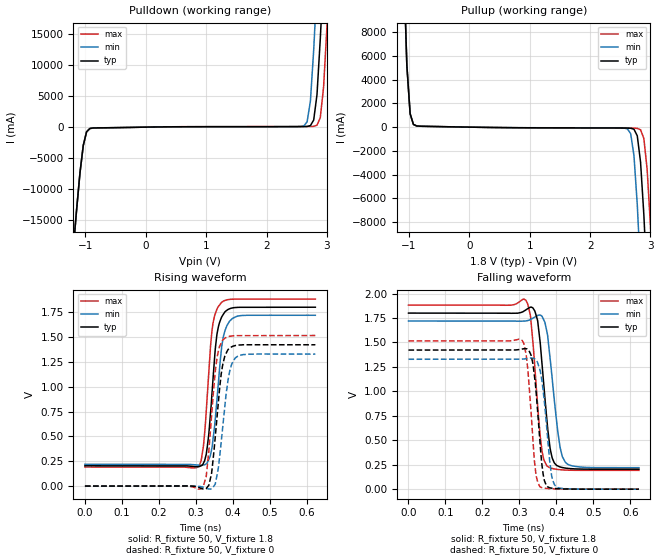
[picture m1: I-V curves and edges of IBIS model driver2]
| IBIS file inv_chain_fast_5ps_tr100ps.ibs created by PYS2IBIS3
| Missouri S&T EMC Lab
[IBIS Ver] 7.1
[File Name] inv_chain_fast_5ps_tr100ps.ibs
[File Rev] 1.0
[Date] Jul 27, 2026
[Source] Eight-stage inv_chain transistor model characterized with s2ibispy
[Notes] Parameter selection; sim_time=6.231e-10, tr=tf=1.000e-10.
[Component] invchain
[Manufacturer] s2ibispy study
[Package]
| variable   typ   min   max
R_pkg 0 NA NA
L_pkg 0H NA NA
C_pkg 0F NA NA
[Pin]  signal_name   model_name   R_pin   L_pin   C_pin
VSSQ   VSSQ   Gnd
VCCQ   VCCQ   Power
| IN IN dummy
PAD   PAD   driver2
| End of Component
| Models and submodels in the file (1): driver2 (Output)
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[Model] driver2
Model_type Output
Polarity Non-Inverting
Enable Active-High
Vinl  = 0.8V
Vinh  = 2V
C_comp 0.4680pF NA NA
[Temperature Range] 27.0000 27.0000 27.0000
[Voltage Range] 1.8000V 1.7000V 1.9000V
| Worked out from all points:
|   slope of the pulldown table from 0 to 0.27 V, typ, clamps not added: 6.79 ohm
|   slope of the pullup table from 0 to 0.27 V, typ, clamps not added: 12.6 ohm
|   rising waveform, R_fixture 50, V_fixture 1.8: 20-80 % time 20.5ps typ, 22.1ps min, 19.3ps max; typ from 0.204 V to 1.8 V
|   rising waveform, R_fixture 50, V_fixture 0: 20-80 % time 21.7ps typ, 23.4ps min, 20.5ps max; typ from 0 V to 1.42 V
|   falling waveform, R_fixture 50, V_fixture 1.8: 20-80 % time 22.9ps typ, 25.5ps min, 20.9ps max; typ from 1.8 V to 0.204 V
|   falling waveform, R_fixture 50, V_fixture 0: 20-80 % time 18.4ps typ, 20.3ps min, 17.2ps max; typ from 1.42 V to 0 V
[Pulldown]
| Voltage   I(typ)   I(min)   I(max)
-1.8V     -87.88A    -87.88A    -87.88A
-1.2V     -19.4A     -19.4A     -19.4A
-1.036V   -2.952A    -2.948A    -2.955A
-927.3mV  -221.8mA   -216.4mA   -227mA
2.618V    95.77mA    193.1mA    97.15mA
2.727V    244.8mA    4.224A     106.4mA
2.782V    1.151A     12.49A     132.5mA
2.836V    5.27A      23.04A     313.7mA
2.891V    14.25A     33.59A     1.533A
2.946V    24.81A     44.15A     6.464A
3V        35.36A     54.71A     16.02A
3.6V      151.5A     170.8A     132.1A
[Pullup]
| Voltage   I(typ)   I(min)   I(max)
-1.8V     151.4A     151.4A     151.4A
-1.091V   14.2A      14.19A     14.2A
-981.8mV  1.13A      1.129A     1.132A
-872.7mV  99.18mA    97.54mA    100.6mA
2.618V    -78.19mA   -142.5mA   -79.21mA
2.727V    -177.2mA   -2.408A    -86.52mA
2.782V    -728.3mA   -6.523A    -104.6mA
2.836V    -2.952A    -12.18A    -222.3mA
2.891V    -7.391A    -18.4A     -950.7mA
2.946V    -13.22A    -24.62A    -3.561A
3V        -19.44A    -30.85A    -8.297A
3.6V      -87.92A    -99.33A    -76.52A
[Ramp]
| variable   typ   min   max
dV/dt_r 0.8532/0.02164n 0.7968/0.02333n 0.9090/0.02053n
dV/dt_f 0.9575/0.02292n 0.8972/0.02469n 1.0171/0.02135n
R_load = 50
[Rising Waveform]
R_fixture = 50
V_fixture = 1.8
|time   V(typ)   V(min)   V(max)
0s        204.2mV    219.5mV    192.2mV
304.4ps   195.4mV    211.6mV    189.7mV
320ps     227.1mV    211.7mV    390.3mV
328.7ps   336mV      226.5mV    786.7mV
342.4ps   869.8mV    364mV      1.531V
352.4ps   1.377V     670.6mV    1.736V
359.9ps   1.586V     992.8mV    1.802V
374.2ps   1.728V     1.502V     1.86V
397.3ps   1.792V     1.683V     1.88V
623.1ps   1.8V       1.719V     1.882V
[Rising Waveform]
R_fixture = 50
V_fixture = 0
|time   V(typ)   V(min)   V(max)
0s        13.08nV    12.76nV    13.48nV
315ps     -24.19mV   -6.634mV   -25.11mV
328.1ps   -23.83mV   -21.84mV   99.55mV
342.4ps   126.6mV    -26.92mV   706.7mV
350.5ps   416.4mV    7.459mV    1.075V
357.4ps   710.7mV    109.4mV    1.296V
371.8ps   1.206V     566.9mV    1.466V
389.8ps   1.385V     1.13V      1.506V
406.7ps   1.415V     1.289V     1.514V
623.1ps   1.422V     1.328V     1.515V
[Falling Waveform]
R_fixture = 50
V_fixture = 1.8
|time   V(typ)   V(min)   V(max)
0s        1.8V       1.719V     1.882V
317.5ps   1.833V     1.72V      1.931V
330ps     1.861V     1.734V     1.767V
348.7ps   1.73V      1.776V     885.3mV
356.8ps   1.471V     1.78V      522.8mV
369.3ps   917mV      1.699V     274mV
383.6ps   404.6mV    1.323V     217.1mV
405.4ps   232.9mV    543.2mV    200.4mV
422.9ps   216.1mV    280.1mV    195.3mV
623.1ps   204.2mV    219.5mV    192.2mV
[Falling Waveform]
R_fixture = 50
V_fixture = 0
|time   V(typ)   V(min)   V(max)
0s        1.422V     1.328V     1.515V
307.5ps   1.433V     1.33V      1.52V
322.5ps   1.428V     1.336V     1.237V
336.2ps   1.287V     1.341V     520.2mV
344.9ps   1.002V     1.32V      143.2mV
354.9ps   517mV      1.226V     27.58mV
367.4ps   88.64mV    898.6mV    9.63mV
381.7ps   13.96mV    291mV      4.936mV
395.5ps   6.424mV    42.64mV    2.426mV
623.1ps   -898.5nV   -3.108uV   -39.69nV
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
